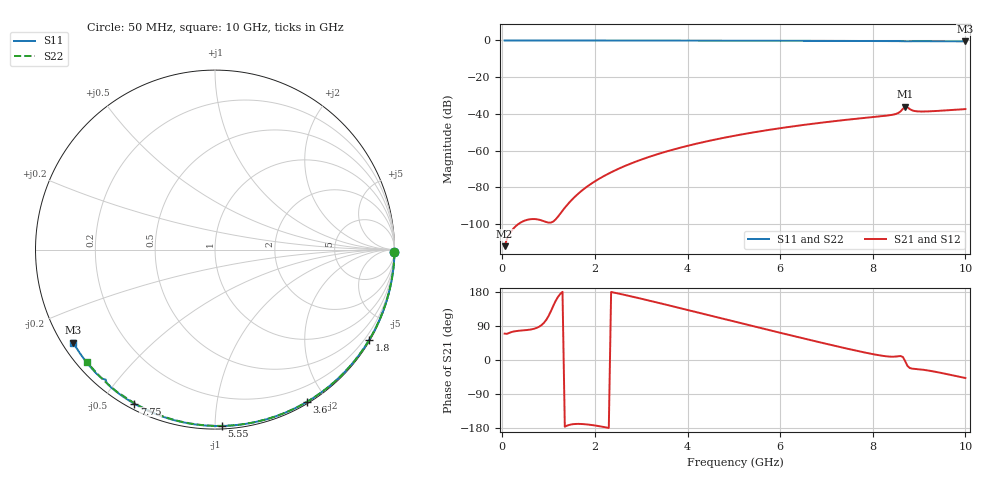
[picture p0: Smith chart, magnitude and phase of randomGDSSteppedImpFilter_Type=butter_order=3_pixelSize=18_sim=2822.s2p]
! freq	dB(S11)	phase(S11)	dB(S12)	phase(S12)
!  dB(S21)	phase(S21)	dB(S22)	phase(S22)
!S-par simulation data
#  GHz  S  DB  R 50
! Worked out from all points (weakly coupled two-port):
!   200 points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, 50 MHz to 10 GHz, reference 50 ohm
!   highest |S21| = -36.04 dB at 8.7 GHz (marker M1); lowest = -112.0 dB at 50 MHz (marker M2)
!   lowest |S11| = -0.5 dB at 10 GHz (marker M3), VSWR 35.02, Z = 1.56 - j14.9 ohm
!   |S11| at or under -10 dB: nowhere
!   |S22| runs from -0.5 to 0.0 dB; largest |S21 - S12| = 0
!   S11 on the Smith chart (normalised r, x): 50 MHz: open; 1.8 GHz: 0.03, -3.70; 3.6 GHz: 0.02, -1.77; 5.55 GHz: 0.02, -1.04; 7.75 GHz: 0.02, -0.60; 10 GHz: 0.03, -0.30
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0.05  -0.00 -0.9  -111.97 69.6  -111.97 69.6  -0.00 -0.8
0.9  -0.02 -15.3  -98.41 98.2  -98.41 98.2  -0.02 -14.4
1.75  -0.04 -29.4  -81.09 -169.1  -81.09 -169.1  -0.04 -27.7
1.8  -0.04 -30.2  -80.12 -169.6  -80.12 -169.6  -0.04 -28.5
2.15  -0.05 -36.0  -74.43 -175.8  -74.43 -175.8  -0.04 -33.9
2.5  -0.05 -41.6  -69.96 175.6  -69.96 175.6  -0.05 -39.2
2.9  -0.06 -48.0  -65.79 164.6  -65.79 164.6  -0.06 -45.2
3.4  -0.07 -55.9  -61.52 150.0  -61.52 150.0  -0.07 -52.7
3.6  -0.08 -59.0  -60.04 144.1  -60.04 144.1  -0.07 -55.6
4.3  -0.10 -69.6  -55.56 123.0  -55.56 123.0  -0.09 -65.7
5.05  -0.12 -80.6  -51.70 100.3  -51.70 100.3  -0.12 -76.1
5.55  -0.14 -87.8  -49.51 85.3  -49.51 85.3  -0.14 -82.9
6.7  -0.20 -103.7  -45.35 51.2  -45.35 51.2  -0.19 -98.1
7.75  -0.27 -117.7  -42.34 21.8  -42.34 21.8  -0.26 -111.3
8.35  -0.33 -125.6  -40.75 9.1  -40.75 9.1  -0.31 -118.7
8.55  -0.37 -128.4  -39.50 10.0  -39.50 10.0  -0.33 -121.2
8.6  -0.39 -129.1  -38.63 10.5  -38.63 10.5  -0.34 -121.7
8.7  -0.48 -130.0  -36.04 -3.2  -36.04 -3.2  -0.33 -122.9
8.75  -0.46 -130.3  -36.43 -15.8  -36.43 -15.8  -0.33 -123.5
8.85  -0.40 -131.6  -38.03 -22.8  -38.03 -22.8  -0.34 -124.8
9  -0.39 -133.6  -38.66 -24.4  -38.66 -24.4  -0.36 -126.7
10  -0.50 -146.7  -37.36 -47.6  -37.36 -47.6  -0.47 -138.8
